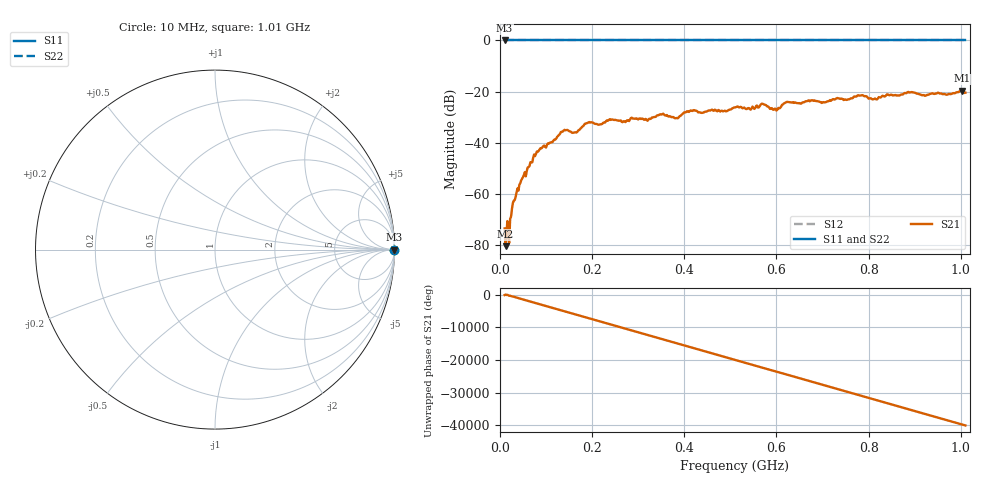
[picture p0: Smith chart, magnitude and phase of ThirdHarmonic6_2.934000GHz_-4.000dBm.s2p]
! 8/17/2025 8:12:05 AM
! C:\ANRITSUVNA\TEMP\TEMP.S2P
! CHANNEL.1
! TR.MEASUREMENT
! RAW.DATA
! RF.CORRECTION.OFF
! AVERAGING.OFF
! IF.BANDWIDTH: 5KHZ
! SWEEPTYPE:  FREQ.SWEEP(Linear)
! Reference Plane Port Info
! PORT:  PORT1  PORT2
! DISTANCE:  0  m  0  m
! TIME:  0  s  0  s
! PHASE.OFFSET:  0  deg.  0  deg.
! LOSS:  0  dB  0  dB
! REF.LOSS:  0  dB  0  dB
! REF.FREQ:  0  Hz  0  Hz
! Power Info
! POWER:  -20  dBm  -20  dBm
! EFF.POWER:  -20  dBm  -20  dBm
! SOURCE.ATTEN:  0  dB  0  dB
! TEST.ATTEN:  0  dB  0  dB
# GHZ S RI R 50.0
! FREQ.GHZ  S11RE  S11IM  S21RE  S21IM  S12RE  S12IM  S22RE  S22IM
!; PortSelection: Port_12
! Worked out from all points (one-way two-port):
!   501 points, 10 MHz to 1.01 GHz, reference 50 ohm
!   highest |S21| = -19.70 dB at 1.002 GHz (marker M1); lowest = -80.5 dB at 12 MHz (marker M2)
!   lowest |S11| = 0.0 dB at 10 MHz (marker M3)
!   |S11| at or under -10 dB: nowhere
!   |S22| runs from 0.0 to 0.0 dB; largest |S21 - S12| = 1.1
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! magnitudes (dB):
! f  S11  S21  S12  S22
! 10 MHz  0.0  -73.6  0.0  0.0
! 12 MHz  0.0  -80.5  0.0  0.0
! 16 MHz  0.0  -70.7  0.0  0.0
! 22 MHz  0.0  -69.8  0.0  0.0
! 26 MHz  0.0  -65.8  0.0  0.0
! 42 MHz  0.0  -56.5  0.0  0.0
! 76 MHz  0.0  -45.3  0.0  0.0
! 136 MHz  0.0  -35.7  0.0  0.0
! 162 MHz  0.0  -36.0  0.0  0.0
! 178 MHz  0.0  -33.9  0.0  0.0
! 194 MHz  0.0  -31.9  0.0  0.0
! 344 MHz  0.0  -29.2  0.0  0.0
! 382 MHz  0.0  -30.4  0.0  0.0
! 416 MHz  0.0  -27.5  0.0  0.0
! 510 MHz  0.0  -26.2  0.0  0.0
! 570 MHz  0.0  -24.8  0.0  0.0
! 598 MHz  0.0  -26.8  0.0  0.0
! 622 MHz  0.0  -24.0  0.0  0.0
! 678 MHz  0.0  -23.4  0.0  0.0
! 844 MHz  0.0  -21.4  0.0  0.0
! 1.002 GHz  0.0  -19.7  0.0  0.0
! 1.01 GHz  0.0  -20.4  0.0  0.0
